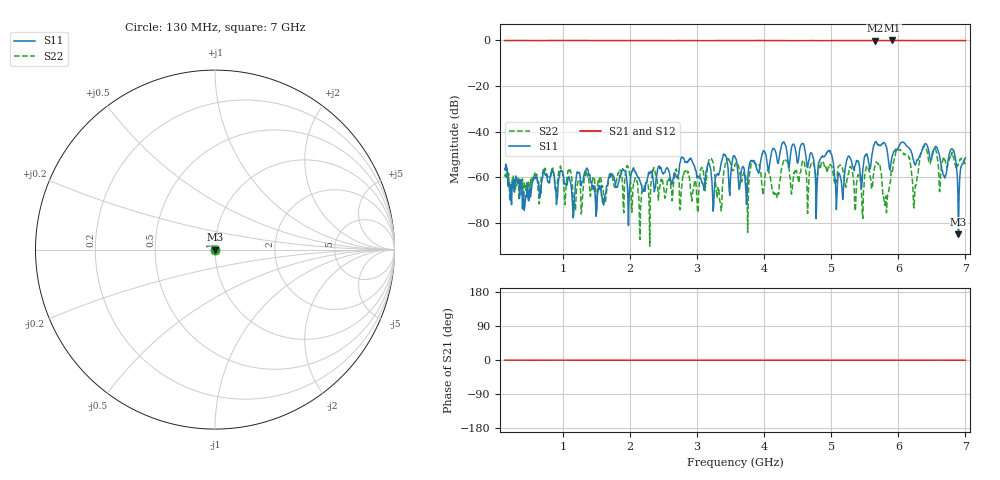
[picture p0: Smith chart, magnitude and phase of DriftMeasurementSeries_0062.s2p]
# Hz S RI R 50.000000
! Metas.Vna.Tools, 2.8.8664.20301
! Metas.Vna.Data, 2.8.8664.20285
! Created: UTC 2024.02.11 10:08:30
! FREQ  re:S1,1  im:S1,1  re:S2,1  im:S2,1  re:S1,2  im:S1,2  re:S2,2  im:S2,2
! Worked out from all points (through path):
!   801 points, 130 MHz to 7 GHz, reference 50 ohm
!   highest |S21| = -0.04 dB at 5.909 GHz (marker M1); lowest = -0.1 dB at 5.652 GHz (marker M2)
!   lowest |S11| = -85.0 dB at 6.897 GHz (marker M3), VSWR 1.00, Z = 50 + j0.00535 ohm
!   |S11| at or under -10 dB: start of sweep to end of sweep
!   |S22| runs from -90.2 to -46.4 dB; largest |S21 - S12| = 0.016
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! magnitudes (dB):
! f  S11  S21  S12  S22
! 130 MHz  -56.5  -0.1  0.0  -58.7
! 430.6 MHz  -73.1  -0.1  0.0  -63.3
! 1.281 GHz  -62.4  -0.1  0.0  -73.9
! 2.423 GHz  -55.6  -0.1  0.0  -70.0
! 2.99 GHz  -58.3  -0.1  0.0  -65.7
! 3.204 GHz  -56.7  -0.1  0.0  -51.8
! 3.333 GHz  -57.6  -0.1  0.0  -69.4
! 3.565 GHz  -51.0  -0.1  0.0  -54.3
! 4.175 GHz  -49.2  -0.1  0.0  -67.3
! 4.312 GHz  -45.6  -0.1  0.0  -52.1
! 4.716 GHz  -49.9  -0.1  0.0  -53.4
! 5.162 GHz  -65.8  -0.1  0.0  -55.4
! 5.652 GHz  -44.6  -0.1  0.0  -54.8
! 5.858 GHz  -53.6  -0.1  0.0  -66.1
! 5.909 GHz  -50.8  0.0  0.0  -57.7
! 6.133 GHz  -46.5  -0.1  0.0  -50.4
! 6.244 GHz  -54.1  -0.1  0.0  -67.1
! 6.382 GHz  -46.1  -0.1  0.0  -46.7
! 6.682 GHz  -59.3  -0.1  0.0  -51.6
! 6.802 GHz  -47.6  -0.1  0.0  -48.9
! 6.897 GHz  -85.0  -0.1  0.0  -53.8
! 7 GHz  -51.5  -0.1  0.0  -54.4
